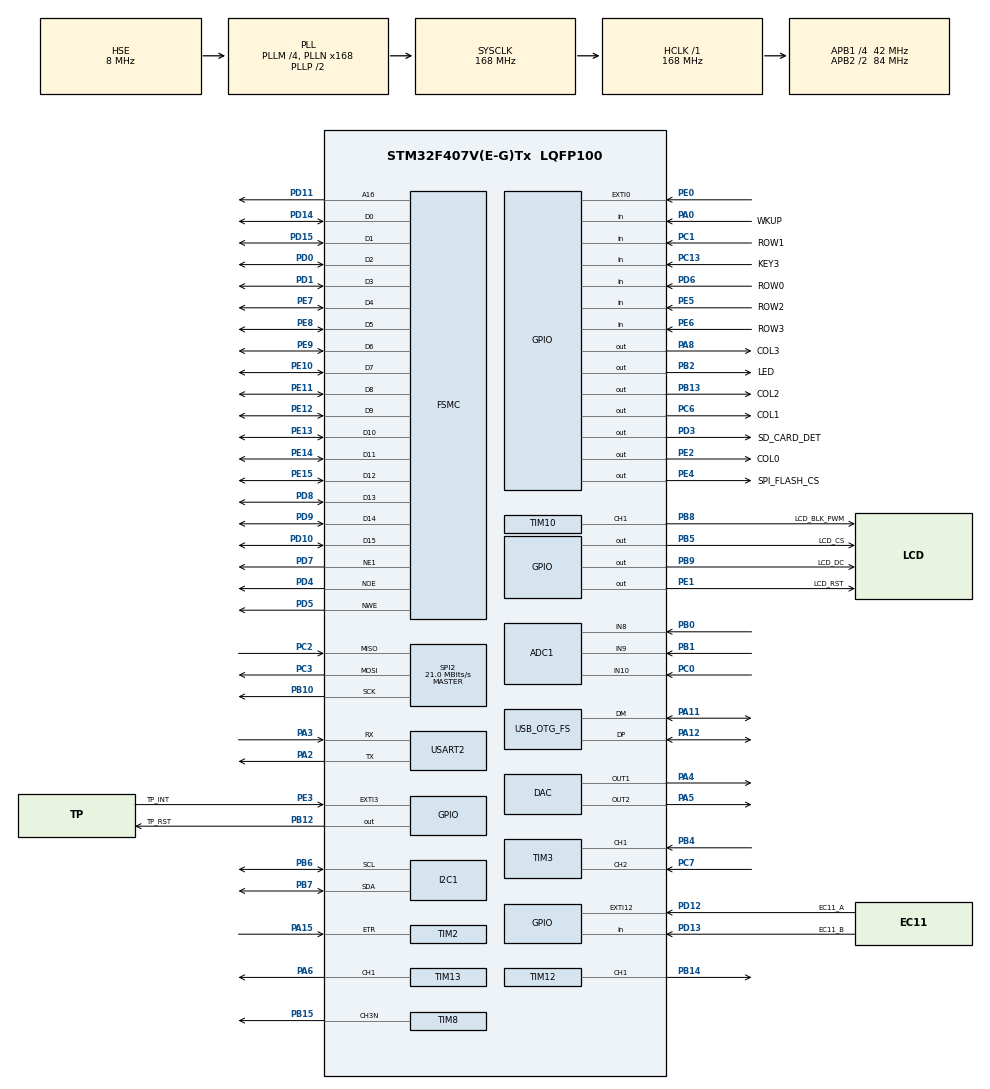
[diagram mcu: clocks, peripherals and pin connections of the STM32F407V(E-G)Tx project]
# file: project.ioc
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ADC1.Channel-0\#ChannelRegularConversion=ADC_CHANNEL_VREFINT
ADC1.ContinuousConvMode=ENABLE
ADC1.DMAContinuousRequests=ENABLE
ADC1.NbrOfConversion=1
ADC1.NbrOfConversionFlag=1
ADC1.Rank-0\#ChannelRegularConversion=1
ADC1.SamplingTime-0\#ChannelRegularConversion=ADC_SAMPLETIME_480CYCLES
ADC1.ScanConvMode=ENABLE
ADC1.master=1
DAC.DAC_OutputBuffer=DAC_OUTPUTBUFFER_ENABLE
DAC.DAC_OutputBuffer2=DAC_OUTPUTBUFFER_ENABLE
DAC.DAC_Trigger=DAC_TRIGGER_T6_TRGO
DAC.DAC_Trigger2=DAC_TRIGGER_T7_TRGO
Dma.ADC1.2.Direction=DMA_PERIPH_TO_MEMORY
Dma.ADC1.2.FIFOMode=DMA_FIFOMODE_DISABLE
Dma.ADC1.2.Instance=DMA2_Stream0
Dma.ADC1.2.MemDataAlignment=DMA_MDATAALIGN_HALFWORD
Dma.ADC1.2.MemInc=DMA_MINC_ENABLE
Dma.ADC1.2.Mode=DMA_CIRCULAR
Dma.ADC1.2.PeriphDataAlignment=DMA_PDATAALIGN_HALFWORD
Dma.ADC1.2.PeriphInc=DMA_PINC_DISABLE
Dma.ADC1.2.Priority=DMA_PRIORITY_LOW
Dma.DAC1.0.Direction=DMA_MEMORY_TO_PERIPH
Dma.DAC1.0.FIFOMode=DMA_FIFOMODE_DISABLE
Dma.DAC1.0.Instance=DMA1_Stream5
Dma.DAC1.0.MemDataAlignment=DMA_MDATAALIGN_HALFWORD
Dma.DAC1.0.MemInc=DMA_MINC_ENABLE
Dma.DAC1.0.Mode=DMA_CIRCULAR
Dma.DAC1.0.PeriphDataAlignment=DMA_PDATAALIGN_HALFWORD
Dma.DAC1.0.PeriphInc=DMA_PINC_DISABLE
Dma.DAC1.0.Priority=DMA_PRIORITY_LOW
Dma.DAC2.1.Direction=DMA_MEMORY_TO_PERIPH
Dma.DAC2.1.FIFOMode=DMA_FIFOMODE_DISABLE
Dma.DAC2.1.Instance=DMA1_Stream6
Dma.DAC2.1.MemDataAlignment=DMA_MDATAALIGN_HALFWORD
Dma.DAC2.1.MemInc=DMA_MINC_ENABLE
Dma.DAC2.1.Mode=DMA_CIRCULAR
Dma.DAC2.1.PeriphDataAlignment=DMA_PDATAALIGN_HALFWORD
Dma.DAC2.1.PeriphInc=DMA_PINC_DISABLE
Dma.DAC2.1.Priority=DMA_PRIORITY_LOW
Dma.Request0=DAC1
Dma.Request1=DAC2
Dma.Request2=ADC1
FREERTOS.BinarySemaphores01=DebugRxBinarySem0,Static,DebugRxBinarySem01ControlBlock,Available;MeasureSem,Static,MeasureSemControlBlock,Available
FREERTOS.Mutexes01=LCDMutex,Static,LCDMutexControlBlock,Available
FREERTOS.Queues01=KeyVelQueue,16,uint8_t,0,Static,KeyVelQueueBuffer,KeyVelQueueControlBlock
FREERTOS.Tasks01=defaultTask,24,128,StartDefaultTask,Default,NULL,Dynamic,NULL,NULL;btu_Task,32,128,btuTask,Default,NULL,Static,btu_TaskBuffer,btu_TaskControlBlock;UI_Task,48,1024,UITask,Default,NULL,Static,UI_TaskBuffer,UI_TaskControlBlock;Debug_Task,8,128,DebugTask,Default,NULL,Static,Debug_TaskBuffer,Debug_TaskControlBlock;host_deviceTask,16,1024,host_device_Task,Default,NULL,Static,MeasureTask05Buffer,MeasureTask05ControlBlock;FreqTask,55,128,Freq_Task,Default,NULL,Static,FreqTaskBuffer,FreqTaskControlBlock
FSMC.BusTurnAroundDuration1=0
FSMC.DataSetupTime1=20
FSMC.ExtendedBusTurnAroundDuration1=0
FSMC.ExtendedDataSetupTime1=20
FSMC.ExtendedMode1=FSMC_EXTENDED_MODE_ENABLE
Mcu.Family=STM32F4
Mcu.Name=STM32F407V(E-G)Tx
Mcu.Package=LQFP100
NVIC.DMA1_Stream5_IRQn=true\:5\:0\:false\:false\:true\:true\:false\:true\:true
NVIC.DMA1_Stream6_IRQn=true\:5\:0\:false\:false\:true\:true\:false\:true\:true
NVIC.DMA2_Stream0_IRQn=true\:5\:0\:false\:false\:true\:true\:false\:true\:true
NVIC.EXTI0_IRQn=true\:5\:0\:false\:false\:true\:true\:true\:true\:true
NVIC.EXTI15_10_IRQn=true\:5\:0\:false\:false\:true\:true\:true\:true\:true
NVIC.EXTI3_IRQn=true\:5\:0\:false\:false\:true\:true\:true\:true\:true
NVIC.OTG_FS_IRQn=true\:5\:0\:false\:false\:true\:true\:false\:true\:true
NVIC.PriorityGroup=NVIC_PRIORITYGROUP_4
NVIC.TIM1_BRK_TIM9_IRQn=true\:5\:0\:false\:false\:true\:true\:true\:true\:true
NVIC.TIM1_TRG_COM_TIM11_IRQn=true\:5\:0\:false\:false\:true\:true\:true\:true\:true
NVIC.TIM8_TRG_COM_TIM14_IRQn=true\:15\:0\:false\:false\:true\:false\:false\:true\:true
NVIC.TimeBase=TIM8_TRG_COM_TIM14_IRQn
NVIC.TimeBaseIP=TIM14
NVIC.USART2_IRQn=true\:5\:0\:false\:false\:true\:true\:true\:true\:true
PA0-WKUP.GPIO_Label=WKUP
PA0-WKUP.GPIO_PuPd=GPIO_PULLUP
PA0-WKUP.Signal=GPIO_Input
PA11.Mode=Device_Only
PA11.Signal=USB_OTG_FS_DM
PA12.Mode=Device_Only
PA12.Signal=USB_OTG_FS_DP
PA15.Signal=S_TIM2_CH1_ETR
PA2.Mode=Asynchronous
PA2.Signal=USART2_TX
PA3.Mode=Asynchronous
PA3.Signal=USART2_RX
PA4.Signal=COMP_DAC1_group
PA5.Signal=COMP_DAC2_group
PA6.Signal=S_TIM13_CH1
PA8.GPIO_Label=COL3
PA8.Signal=GPIO_Output
PB0.Signal=ADCx_IN8
PB1.Signal=ADCx_IN9
PB10.Mode=Full_Duplex_Master
PB10.Signal=SPI2_SCK
PB12.GPIO_Label=TP_RST
PB12.Signal=GPIO_Output
PB13.GPIO_Label=COL2
PB13.Signal=GPIO_Output
PB14.Signal=S_TIM12_CH1
PB15.Mode=PWM Generation3 CH3N
PB15.Signal=TIM8_CH3N
PB2.GPIO_Label=LED
PB2.Signal=GPIO_Output
PB4.Signal=S_TIM3_CH1
PB5.GPIO_Label=LCD_CS
PB5.Signal=GPIO_Output
PB6.Mode=I2C
PB6.Signal=I2C1_SCL
PB7.Mode=I2C
PB7.Signal=I2C1_SDA
PB8.GPIO_Label=LCD_BLK_PWM
PB8.Signal=S_TIM10_CH1
PB9.GPIO_Label=LCD_DC
PB9.Signal=GPIO_Output
PC0.Signal=ADCx_IN10
PC1.GPIO_Label=ROW1
PC1.GPIO_PuPd=GPIO_PULLUP
PC1.Signal=GPIO_Input
PC10.Signal=SDIO_D2
PC11.Signal=SDIO_D3
PC12.Signal=SDIO_CK
PC13-ANTI_TAMP.GPIO_Label=KEY3
PC13-ANTI_TAMP.GPIO_PuPd=GPIO_PULLUP
PC13-ANTI_TAMP.Signal=GPIO_Input
PC14-OSC32_IN.Mode=LSE-External-Oscillator
PC14-OSC32_IN.Signal=RCC_OSC32_IN
PC15-OSC32_OUT.Mode=LSE-External-Oscillator
PC15-OSC32_OUT.Signal=RCC_OSC32_OUT
PC2.Mode=Full_Duplex_Master
PC2.Signal=SPI2_MISO
PC3.Mode=Full_Duplex_Master
PC3.Signal=SPI2_MOSI
PC6.GPIO_Label=COL1
PC6.Signal=GPIO_Output
PC7.Signal=S_TIM3_CH2
PC8.Signal=SDIO_D0
PC9.Signal=SDIO_D1
PD0.Mode=16b-d1
PD0.Signal=FSMC_D2
PD1.Mode=16b-d1
PD1.Signal=FSMC_D3
PD10.Mode=16b-d1
PD10.Signal=FSMC_D15
PD11.Mode=A16_1
PD11.Signal=FSMC_A16
PD12.GPIO_Label=EC11_A
PD12.GPIO_ModeDefaultEXTI=GPIO_MODE_IT_RISING_FALLING
PD12.Signal=GPXTI12
PD13.GPIO_Label=EC11_B
PD13.GPIO_PuPd=GPIO_PULLUP
PD13.Signal=GPIO_Input
PD14.Mode=16b-d1
PD14.Signal=FSMC_D0
PD15.Mode=16b-d1
PD15.Signal=FSMC_D1
PD2.Signal=SDIO_CMD
PD3.GPIO_Label=SD_CARD_DET
PD3.Signal=GPIO_Output
PD4.Mode=Lcd1
PD4.Signal=FSMC_NOE
PD5.Mode=Lcd1
PD5.Signal=FSMC_NWE
PD6.GPIO_Label=ROW0
PD6.GPIO_PuPd=GPIO_PULLUP
PD6.Signal=GPIO_Input
PD7.Mode=NorPsramChipSelect1_1
PD7.Signal=FSMC_NE1
PD8.Mode=16b-d1
PD8.Signal=FSMC_D13
PD9.Mode=16b-d1
PD9.Signal=FSMC_D14
PE0.GPIO_ModeDefaultEXTI=GPIO_MODE_IT_RISING_FALLING
PE0.Signal=GPXTI0
PE1.GPIO_Label=LCD_RST
PE1.Signal=GPIO_Output
PE10.Mode=16b-d1
PE10.Signal=FSMC_D7
PE11.Mode=16b-d1
PE11.Signal=FSMC_D8
PE12.Mode=16b-d1
PE12.Signal=FSMC_D9
PE13.Mode=16b-d1
PE13.Signal=FSMC_D10
PE14.Mode=16b-d1
PE14.Signal=FSMC_D11
PE15.Mode=16b-d1
PE15.Signal=FSMC_D12
PE2.GPIO_Label=COL0
PE2.Signal=GPIO_Output
PE3.GPIO_Label=TP_INT
PE3.Signal=GPXTI3
PE4.GPIO_Label=SPI_FLASH_CS
PE4.Signal=GPIO_Output
PE5.GPIO_Label=ROW2
PE5.GPIO_PuPd=GPIO_PULLUP
PE5.Signal=GPIO_Input
PE6.GPIO_Label=ROW3
PE6.GPIO_PuPd=GPIO_PULLUP
PE6.Signal=GPIO_Input
PE7.Mode=16b-d1
PE7.Signal=FSMC_D4
PE8.Mode=16b-d1
PE8.Signal=FSMC_D5
PE9.Mode=16b-d1
PE9.Signal=FSMC_D6
PH0-OSC_IN.Mode=HSE-External-Oscillator
PH0-OSC_IN.Signal=RCC_OSC_IN
PH1-OSC_OUT.Mode=HSE-External-Oscillator
PH1-OSC_OUT.Signal=RCC_OSC_OUT
ProjectManager.HeapSize=0x200
ProjectManager.StackSize=0x400
ProjectManager.TargetToolchain=MDK-ARM V5.32
RCC.48MHZClocksFreq_Value=48000000
RCC.AHBFreq_Value=168000000
RCC.APB1CLKDivider=RCC_HCLK_DIV4
RCC.APB1Freq_Value=42000000
RCC.APB1TimFreq_Value=84000000
RCC.APB2CLKDivider=RCC_HCLK_DIV2
RCC.APB2Freq_Value=84000000
RCC.APB2TimFreq_Value=168000000
RCC.CortexFreq_Value=168000000
RCC.HCLKFreq_Value=168000000
RCC.HSE_VALUE=8000000
RCC.HSI_VALUE=16000000
RCC.PLLM=4
RCC.PLLN=168
RCC.PLLQ=7
RCC.SYSCLKFreq_VALUE=168000000
RCC.SYSCLKSource=RCC_SYSCLKSOURCE_PLLCLK
RCC.VCOOutputFreq_Value=336000000
SH.ADCx_IN10.0=ADC1_IN10,IN10
SH.ADCx_IN8.0=ADC1_IN8,IN8
SH.ADCx_IN9.0=ADC1_IN9,IN9
SH.COMP_DAC1_group.0=DAC_OUT1,DAC_OUT1
SH.COMP_DAC2_group.0=DAC_OUT2,DAC_OUT2
SH.S_TIM10_CH1.0=TIM10_CH1,PWM Generation1 CH1
SH.S_TIM12_CH1.0=TIM12_CH1,PWM Generation1 CH1
SH.S_TIM13_CH1.0=TIM13_CH1,PWM Generation1 CH1
SH.S_TIM2_CH1_ETR.0=TIM2_ETR,ClockSourceETR_Mode2
SH.S_TIM3_CH1.0=TIM3_CH1,Input_Capture1_from_TI1
SH.S_TIM3_CH2.0=TIM3_CH2,Input_Capture2_from_TI2
SPI2.CalculateBaudRate=21.0 MBits/s
SPI2.Direction=SPI_DIRECTION_2LINES
SPI2.Mode=SPI_MODE_MASTER
SPI2.VirtualType=VM_MASTER
TIM10.Channel=TIM_CHANNEL_1
TIM10.Period=100-1
TIM10.Prescaler=168-1
TIM10.Pulse=100
TIM11.AutoReloadPreload=TIM_AUTORELOAD_PRELOAD_DISABLE
TIM11.Period=2-1
TIM11.Prescaler=84-1
TIM12.Channel-PWM\ Generation1\ CH1=TIM_CHANNEL_1
TIM12.Period=1000-1
TIM12.Prescaler=84-1
TIM13.Channel=TIM_CHANNEL_1
TIM13.Period=370-1
TIM13.Prescaler=84-1
TIM13.Pulse=185
TIM3.Channel-Input_Capture1_from_TI1=TIM_CHANNEL_1
TIM3.Channel-Input_Capture2_from_TI2=TIM_CHANNEL_2
TIM6.AutoReloadPreload=TIM_AUTORELOAD_PRELOAD_ENABLE
TIM6.Period=84-1
TIM6.Prescaler=0
TIM6.TIM_MasterOutputTrigger=TIM_TRGO_UPDATE
TIM7.AutoReloadPreload=TIM_AUTORELOAD_PRELOAD_ENABLE
TIM7.Period=84-1
TIM7.Prescaler=0
TIM7.TIM_MasterOutputTrigger=TIM_TRGO_UPDATE
TIM8.Channel-PWM\ Generation3\ CH3N=TIM_CHANNEL_3
TIM8.Period=1000-1
TIM8.Prescaler=168-1
TIM9.Period=10000-1
TIM9.Prescaler=16800-1
USART2.VirtualMode=VM_ASYNC
USB_DEVICE.CLASS_NAME_FS=CDC
USB_DEVICE.VirtualMode-CDC_FS=Cdc
USB_DEVICE.VirtualModeFS=Cdc_FS
USB_OTG_FS.VirtualMode=Device_Only
VP_ADC1_Vref_Input.Mode=IN-Vrefint
VP_FREERTOS_VS_CMSIS_V2.Mode=CMSIS_V2
VP_SYS_VS_tim14.Mode=TIM14
VP_TIM10_VS_ClockSourceINT.Mode=Enable_Timer
VP_TIM11_VS_ClockSourceINT.Mode=Enable_Timer
VP_TIM12_VS_ClockSourceINT.Mode=Internal
VP_TIM13_VS_ClockSourceINT.Mode=Enable_Timer
VP_TIM6_VS_ClockSourceINT.Mode=Enable_Timer
VP_TIM7_VS_ClockSourceINT.Mode=Enable_Timer
VP_TIM8_VS_ClockSourceINT.Mode=Internal
VP_TIM9_VS_ClockSourceINT.Mode=Internal
VP_USB_DEVICE_VS_USB_DEVICE_CDC_FS.Mode=CDC_FS
board=custom

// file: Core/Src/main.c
/* USER CODE BEGIN Header */
/**
 ******************************************************************************
 * @file           : main.c
 * @brief          : Main program body
 ******************************************************************************
 * @attention
 *
 * Copyright (c) 2026 STMicroelectronics.
 * All rights reserved.
 *
 * This software is licensed under terms that can be found in the LICENSE file
 * in the root directory of this software component.
 * If no LICENSE file comes with this software, it is provided AS-IS.
 *
 ******************************************************************************
 */
/* USER CODE END Header */
#include "main.h"
#include "cmsis_os.h"
#include "adc.h"
#include "dac.h"
#include "dma.h"
#include "i2c.h"
#include "spi.h"
#include "tim.h"
#include "usart.h"
#include "usb_device.h"
#include "gpio.h"
#include "fsmc.h"

/* USER CODE BEGIN Includes */
#include <easyflash.h>
#include "save_load.h"

/* USER CODE END Includes */

void SystemClock_Config(void);
void MX_FREERTOS_Init(void);

/* USER CODE BEGIN 0 */
// uint8_t RxData;
// uint8_t Serial_RxFlag;

// void HAL_UART_RxCpltCallback(UART_HandleTypeDef *huart)
//{
//   if (huart == &huart2)
//   {
//     Serial_RxFlag = 1;
//     HAL_UART_Receive_IT(&huart2, &RxData, 1);
//   }
// }

// uint8_t Serial_GetRxFlag(void)
//{
//   if (Serial_RxFlag == 1)
//   {
//     Serial_RxFlag = 0;
//     return 1;
//   }
//   return 0;
// }

// uint8_t Serial_GetRxData(void)
//{
//   return RxData;
// }

// static void test_env(void)
//{
//   uint32_t i_boot_times = NULL;
//   char *c_old_boot_times, c_new_boot_times[11] = {0};

//  /* get the boot count number from Env */
//  c_old_boot_times = ef_get_env("boot_times");
//  assert_param(c_old_boot_times);
//  i_boot_times = atol(c_old_boot_times);
//  /* boot count +1 */
//  i_boot_times++;
//  printf("The system now boot %d times\n\r", i_boot_times);
//  /* interger to string */
//  sprintf(c_new_boot_times, "%d", i_boot_times);
//  /* set and store the boot count number to Env */
//  ef_set_env("boot_times", c_new_boot_times);
//  ef_save_env();
//}

/* USER CODE END 0 */

int main(void)
{

  /* MCU Configuration--------------------------------------------------------*/

  /* Reset of all peripherals, Initializes the Flash interface and the Systick. */
  HAL_Init();

  /* Configure the system clock */
  SystemClock_Config();

  /* Initialize all configured peripherals */
  MX_GPIO_Init();
  MX_DMA_Init();
  MX_DAC_Init();
  MX_ADC1_Init();
  MX_FSMC_Init();
  MX_I2C1_Init();
  MX_SPI2_Init();
  MX_TIM10_Init();
  MX_USART2_UART_Init();
  MX_TIM12_Init();
  MX_TIM2_Init();
  MX_TIM3_Init();
  MX_TIM6_Init();
  MX_TIM7_Init();
  MX_TIM8_Init();
  MX_TIM11_Init();
  MX_TIM9_Init();
  MX_TIM13_Init();
  /* USER CODE BEGIN 2 */

  save_load_init();

  /* USER CODE END 2 */

  /* Init scheduler */
  osKernelInitialize();  /* Call init function for freertos objects (in cmsis_os2.c) */
  MX_FREERTOS_Init();

  /* Start scheduler */
  osKernelStart();

  /* We should never get here as control is now taken by the scheduler */

  /* Infinite loop */
  while (1)
  {

  }
}

void SystemClock_Config(void)
{
  RCC_OscInitTypeDef RCC_OscInitStruct = {0};
  RCC_ClkInitTypeDef RCC_ClkInitStruct = {0};

  /** Configure the main internal regulator output voltage
  */
  __HAL_RCC_PWR_CLK_ENABLE();
  __HAL_PWR_VOLTAGESCALING_CONFIG(PWR_REGULATOR_VOLTAGE_SCALE1);

  /** Initializes the RCC Oscillators according to the specified parameters
  * in the RCC_OscInitTypeDef structure.
  */
  RCC_OscInitStruct.OscillatorType = RCC_OSCILLATORTYPE_HSE;
  RCC_OscInitStruct.HSEState = RCC_HSE_ON;
  RCC_OscInitStruct.PLL.PLLState = RCC_PLL_ON;
  RCC_OscInitStruct.PLL.PLLSource = RCC_PLLSOURCE_HSE;
  RCC_OscInitStruct.PLL.PLLM = 4;
  RCC_OscInitStruct.PLL.PLLN = 168;
  RCC_OscInitStruct.PLL.PLLP = RCC_PLLP_DIV2;
  RCC_OscInitStruct.PLL.PLLQ = 7;
  if (HAL_RCC_OscConfig(&RCC_OscInitStruct) != HAL_OK)
  {
    Error_Handler();
  }

  /** Initializes the CPU, AHB and APB buses clocks
  */
  RCC_ClkInitStruct.ClockType = RCC_CLOCKTYPE_HCLK|RCC_CLOCKTYPE_SYSCLK
                              |RCC_CLOCKTYPE_PCLK1|RCC_CLOCKTYPE_PCLK2;
  RCC_ClkInitStruct.SYSCLKSource = RCC_SYSCLKSOURCE_PLLCLK;
  RCC_ClkInitStruct.AHBCLKDivider = RCC_SYSCLK_DIV1;
  RCC_ClkInitStruct.APB1CLKDivider = RCC_HCLK_DIV4;
  RCC_ClkInitStruct.APB2CLKDivider = RCC_HCLK_DIV2;

  if (HAL_RCC_ClockConfig(&RCC_ClkInitStruct, FLASH_LATENCY_5) != HAL_OK)
  {
    Error_Handler();
  }
}

/* USER CODE BEGIN 4 */
uint64_t FreeRTOSRunTimeTicks;

uint64_t GetusTimeTicks(void)
{
  return FreeRTOSRunTimeTicks;
}

void HAL_GPIO_EXTI_Callback(uint16_t GPIO_Pin)
{
  EC11_RotateHandler(GPIO_Pin);
  EC11_ProcessCountChange();
  Measure_Handler(GPIO_Pin);
}

/* USER CODE END 4 */

void HAL_TIM_PeriodElapsedCallback(TIM_HandleTypeDef *htim)
{
  if (htim->Instance == TIM14)
  {
    HAL_IncTick();
  }
  /* USER CODE BEGIN Callback 1 */
  if (htim->Instance == TIM11)
  {
    FreeRTOSRunTimeTicks++;
  }
  // if (htim->Instance == TIM9)
  // {
  //   TIM_Freq_Get();
  // }
  /* USER CODE END Callback 1 */
}

void Error_Handler(void)
{
  __disable_irq();
  while (1)
  {
  }
}

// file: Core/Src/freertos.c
/* USER CODE BEGIN Header */
/**
 ******************************************************************************
 * File Name          : freertos.c
 * Description        : Code for freertos applications
 ******************************************************************************
 * @attention
 *
 * Copyright (c) 2026 STMicroelectronics.
 * All rights reserved.
 *
 * This software is licensed under terms that can be found in the LICENSE file
 * in the root directory of this software component.
 * If no LICENSE file comes with this software, it is provided AS-IS.
 *
 ******************************************************************************
 */
/* USER CODE END Header */

#include "FreeRTOS.h"
#include "task.h"
#include "main.h"
#include "cmsis_os.h"

/* USER CODE BEGIN Includes */
#include "debug.h"
#include "lcd.h"
#include "key.h"
//#include "test_ui.h"
#include "waveform_generator.h"
#include "save_load.h"
#include "host_device.h"
//#include "buzzer.h"
//#include "matrixkey.h"
#include "measure.h"

/* USER CODE END Includes */

typedef StaticTask_t osStaticThreadDef_t;
typedef StaticQueue_t osStaticMessageQDef_t;
typedef StaticSemaphore_t osStaticMutexDef_t;
typedef StaticSemaphore_t osStaticSemaphoreDef_t;

/* Definitions for defaultTask */
osThreadId_t defaultTaskHandle;
const osThreadAttr_t defaultTask_attributes = {
    .name = "defaultTask",
    .stack_size = 128 * 4,
    .priority = (osPriority_t)osPriorityNormal,
};
/* Definitions for btu_Task */
osThreadId_t btu_TaskHandle;
uint32_t btu_TaskBuffer[128];
osStaticThreadDef_t btu_TaskControlBlock;
const osThreadAttr_t btu_Task_attributes = {
    .name = "btu_Task",
    .cb_mem = &btu_TaskControlBlock,
    .cb_size = sizeof(btu_TaskControlBlock),
    .stack_mem = &btu_TaskBuffer[0],
    .stack_size = sizeof(btu_TaskBuffer),
    .priority = (osPriority_t)osPriorityAboveNormal,
};
/* Definitions for UI_Task */
osThreadId_t UI_TaskHandle;
uint32_t UI_TaskBuffer[1024];
osStaticThreadDef_t UI_TaskControlBlock;
const osThreadAttr_t UI_Task_attributes = {
    .name = "UI_Task",
    .cb_mem = &UI_TaskControlBlock,
    .cb_size = sizeof(UI_TaskControlBlock),
    .stack_mem = &UI_TaskBuffer[0],
    .stack_size = sizeof(UI_TaskBuffer),
    .priority = (osPriority_t)osPriorityRealtime,
};
/* Definitions for Debug_Task */
osThreadId_t Debug_TaskHandle;
uint32_t Debug_TaskBuffer[128];
osStaticThreadDef_t Debug_TaskControlBlock;
const osThreadAttr_t Debug_Task_attributes = {
    .name = "Debug_Task",
    .cb_mem = &Debug_TaskControlBlock,
    .cb_size = sizeof(Debug_TaskControlBlock),
    .stack_mem = &Debug_TaskBuffer[0],
    .stack_size = sizeof(Debug_TaskBuffer),
    .priority = (osPriority_t)osPriorityLow,
};
/* Definitions for host_deviceTask */
osThreadId_t host_deviceTaskHandle;
uint32_t MeasureTask05Buffer[1024];
osStaticThreadDef_t MeasureTask05ControlBlock;
const osThreadAttr_t host_deviceTask_attributes = {
    .name = "host_deviceTask",
    .cb_mem = &MeasureTask05ControlBlock,
    .cb_size = sizeof(MeasureTask05ControlBlock),
    .stack_mem = &MeasureTask05Buffer[0],
    .stack_size = sizeof(MeasureTask05Buffer),
    .priority = (osPriority_t)osPriorityBelowNormal,
};
/* Definitions for FreqTask */
osThreadId_t FreqTaskHandle;
uint32_t FreqTaskBuffer[128];
osStaticThreadDef_t FreqTaskControlBlock;
const osThreadAttr_t FreqTask_attributes = {
    .name = "FreqTask",
    .cb_mem = &FreqTaskControlBlock,
    .cb_size = sizeof(FreqTaskControlBlock),
    .stack_mem = &FreqTaskBuffer[0],
    .stack_size = sizeof(FreqTaskBuffer),
    .priority = (osPriority_t)osPriorityRealtime7,
};
/* Definitions for KeyVelQueue */
osMessageQueueId_t KeyVelQueueHandle;
uint8_t KeyVelQueueBuffer[16 * sizeof(uint8_t)];
osStaticMessageQDef_t KeyVelQueueControlBlock;
const osMessageQueueAttr_t KeyVelQueue_attributes = {
    .name = "KeyVelQueue",
    .cb_mem = &KeyVelQueueControlBlock,
    .cb_size = sizeof(KeyVelQueueControlBlock),
    .mq_mem = &KeyVelQueueBuffer,
    .mq_size = sizeof(KeyVelQueueBuffer)};
/* Definitions for LCDMutex */
osMutexId_t LCDMutexHandle;
osStaticMutexDef_t LCDMutexControlBlock;
const osMutexAttr_t LCDMutex_attributes = {
    .name = "LCDMutex",
    .cb_mem = &LCDMutexControlBlock,
    .cb_size = sizeof(LCDMutexControlBlock),
};
/* Definitions for DebugRxBinarySem0 */
osSemaphoreId_t DebugRxBinarySem0Handle;
osStaticSemaphoreDef_t DebugRxBinarySem01ControlBlock;
const osSemaphoreAttr_t DebugRxBinarySem0_attributes = {
    .name = "DebugRxBinarySem0",
    .cb_mem = &DebugRxBinarySem01ControlBlock,
    .cb_size = sizeof(DebugRxBinarySem01ControlBlock),
};
/* Definitions for MeasureSem */
osSemaphoreId_t MeasureSemHandle;
osStaticSemaphoreDef_t MeasureSemControlBlock;
const osSemaphoreAttr_t MeasureSem_attributes = {
    .name = "MeasureSem",
    .cb_mem = &MeasureSemControlBlock,
    .cb_size = sizeof(MeasureSemControlBlock),
};

/* USER CODE BEGIN FunctionPrototypes */

// uint32_t g_measured_freq = 0; // 全局频率变量
// uint8_t g_gate_time = 1;      // 闸门时间，单位：秒，默认1秒

void TIM_Freq_Get(void)
{
  static uint64_t HisCount, CurCount;
  uint64_t Count;
  HisCount = CurCount;
  CurCount = __HAL_TIM_GetCounter(&htim2);
  Count = CurCount - HisCount;
  // MeasureData.Count += Count;
  // g_measured_freq = Count / g_gate_time;
  // MeasureData.Frequency = Count / g_gate_time;
  MeasureData.Frequency = Count / get_measure_gate();

  // printf("g_measured_freq = %d\r\n", g_measured_freq);
  // printf("MeasureData.Frequency = %d\r\n", MeasureData.Frequency);
}

/* USER CODE END FunctionPrototypes */

void StartDefaultTask(void *argument);
void btuTask(void *argument);
void UITask(void *argument);
void DebugTask(void *argument);
void host_device_Task(void *argument);
void Freq_Task(void *argument);

extern void MX_USB_DEVICE_Init(void);
void MX_FREERTOS_Init(void); /* (MISRA C 2004 rule 8.1) */

void MX_FREERTOS_Init(void)
{
  /* Create the mutex(es) */
  /* creation of LCDMutex */
  LCDMutexHandle = osMutexNew(&LCDMutex_attributes);

  /* Create the semaphores(s) */
  /* creation of DebugRxBinarySem0 */
  DebugRxBinarySem0Handle = osSemaphoreNew(1, 1, &DebugRxBinarySem0_attributes);

  /* creation of MeasureSem */
  MeasureSemHandle = osSemaphoreNew(1, 1, &MeasureSem_attributes);

  /* Create the queue(s) */
  /* creation of KeyVelQueue */
  KeyVelQueueHandle = osMessageQueueNew(16, sizeof(uint8_t), &KeyVelQueue_attributes);

  /* Create the thread(s) */
  /* creation of defaultTask */
  defaultTaskHandle = osThreadNew(StartDefaultTask, NULL, &defaultTask_attributes);

  /* creation of btu_Task */
  btu_TaskHandle = osThreadNew(btuTask, NULL, &btu_Task_attributes);

  /* creation of UI_Task */
  UI_TaskHandle = osThreadNew(UITask, NULL, &UI_Task_attributes);

  /* creation of Debug_Task */
  Debug_TaskHandle = osThreadNew(DebugTask, NULL, &Debug_Task_attributes);

  /* creation of host_deviceTask */
  host_deviceTaskHandle = osThreadNew(host_device_Task, NULL, &host_deviceTask_attributes);

  /* creation of FreqTask */
  FreqTaskHandle = osThreadNew(Freq_Task, NULL, &FreqTask_attributes);

}

void StartDefaultTask(void *argument)
{
  /* init code for USB_DEVICE */
  MX_USB_DEVICE_Init();
  /* USER CODE BEGIN StartDefaultTask */

  // HAL_TIM_Base_Start(&htim2);
  // TickType_t xLastWakeTime;
  // xLastWakeTime = xTaskGetTickCount();
  // HAL_TIM_Base_Start_IT(&htim11);
  // osDelay(1000);

  /* Infinite loop */
  for (;;)
  {
    osDelay(1000);
    // TIM_Freq_Get();
    HAL_GPIO_TogglePin(LED_GPIO_Port, LED_Pin);

    //    char myStr[64] = {0};                             // 定义一个数组，用于存放要输出的字符串
    //    sprintf(myStr, "<<<<<<APP\r\r");                  // 格式化字符串
    //    CDC_Transmit_FS((uint8_t *)myStr, strlen(myStr)); // 发送字符串

    // refresh_measure_data();
    // vTaskDelayUntil(&xLastWakeTime, get_measure_gate() * 1000);
  }
  /* USER CODE END StartDefaultTask */
}

void btuTask(void *argument)
{
  /* USER CODE BEGIN btuTask */
  /* Infinite loop */
  for (;;)
  {
    Waveform_ScanUpdate();
		Refresh_Start_Value();
    matrixkey_task();
    Buzzer_Process();
    osDelay(5);
  }
  /* USER CODE END btuTask */
}

void UITask(void *argument)
{
  /* USER CODE BEGIN UITask */

  ui_init();
  /* Infinite loop */
  for (;;)
  {
    ui_task();
    // refresh_measure_data();
    osDelay(1);
  }
  /* USER CODE END UITask */
}

void DebugTask(void *argument)
{
  /* USER CODE BEGIN DebugTask */
#define HARDWARE_VERSION "V1.0.0"
#define SOFTWARE_VERSION "V0.1.0"

  debug_init();
  cm_backtrace_init("project", HARDWARE_VERSION, SOFTWARE_VERSION);
  /* Infinite loop */
  for (;;)
  {

    debug_task();
    osDelay(1);
  }
  /* USER CODE END DebugTask */
}

void host_device_Task(void *argument)
{
  /* USER CODE BEGIN host_device_Task */
  host_device_task_init();
  /* Infinite loop */
  for (;;)
  {
    // host_device_task_init();
    host_task();
    osDelay(1);
  }
  /* USER CODE END host_device_Task */
}

void Freq_Task(void *argument)
{
  /* USER CODE BEGIN Freq_Task */
  osDelay(1000);  // 先等1s,让系统各模块初始化完毕

  HAL_TIM_Base_Start(&htim2);
  TickType_t xLastWakeTime;
  xLastWakeTime = xTaskGetTickCount();
  HAL_TIM_Base_Start_IT(&htim11); // 和频率测量无关，测量脉宽和占空比
  // HAL_TIM_Base_Start_IT(&htim9);

  /* Infinite loop */
  for (;;)
  {
    TIM_Freq_Get();
    // HAL_GPIO_TogglePin(LED_GPIO_Port, LED_Pin);
    // refresh_measure_data();
    vTaskDelayUntil(&xLastWakeTime, get_measure_gate() * 1000);  // 让出cpu,进入阻塞态

    // osDelay(1);
  }
  /* USER CODE END Freq_Task */
}
